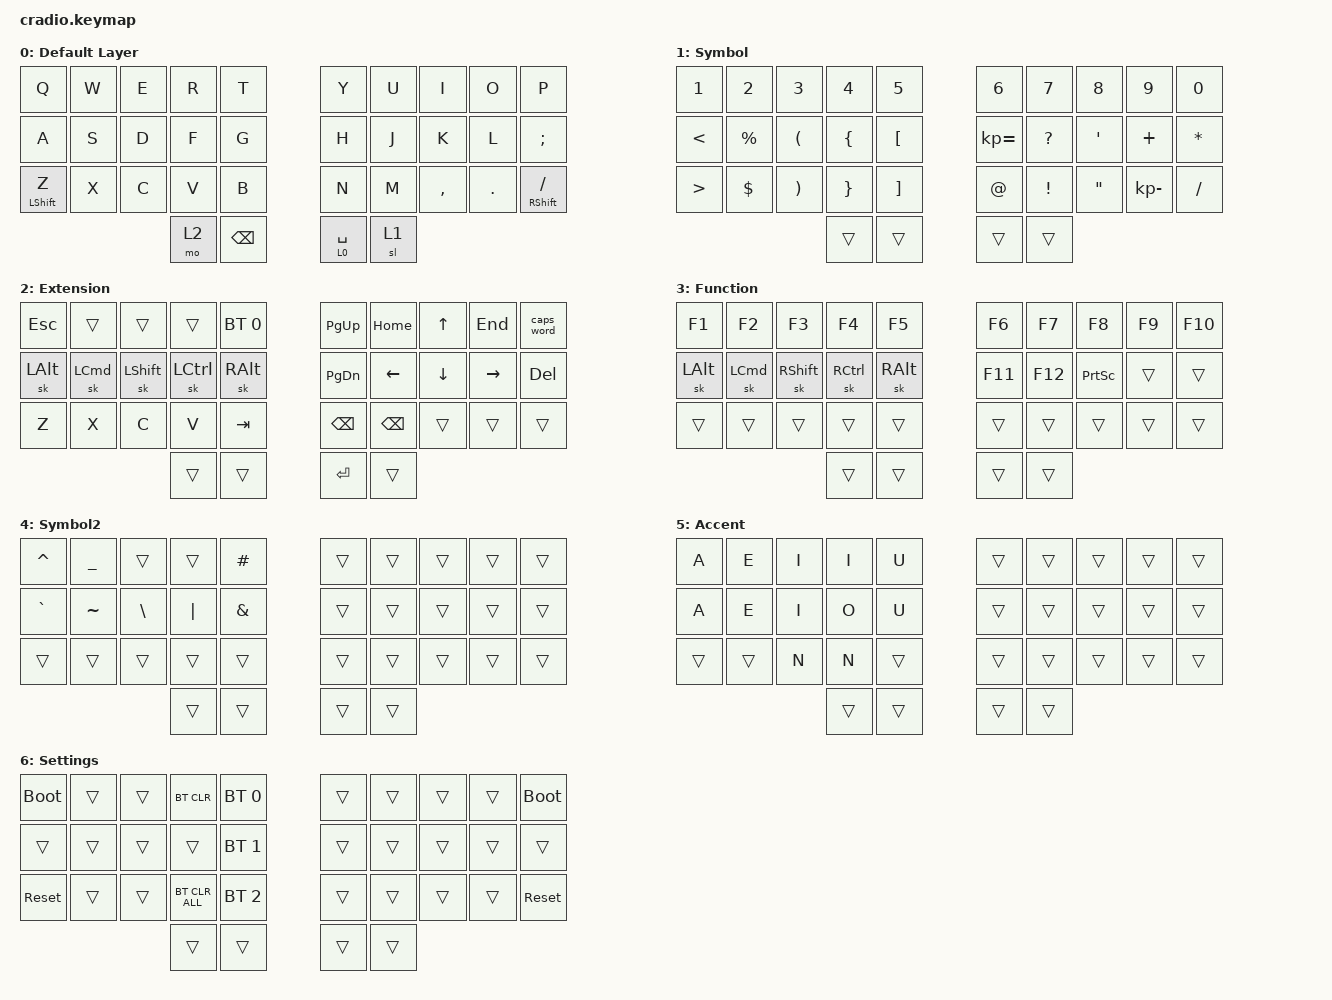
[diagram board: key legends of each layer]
// Copyright (c) 2022 The ZMK Contributors
// SPDX-License-Identifier: MIT

#define ZMK_POINTING_DEFAULT_MOVE_VAL 1200  // default: 600

#include "keys_es_latin_american.h"
#include <behaviors.dtsi>
#include <dt-bindings/zmk/bt.h>
#include <dt-bindings/zmk/keys.h>

&mt { quick-tap-ms = <150>; };

/ {
    behaviors {
        ht: hold_tap {
            compatible = "zmk,behavior-hold-tap";
            #binding-cells = <2>;
            flavor = "balanced";
            tapping-term-ms = <280>;
            quick-tap-ms = <175>;
            require-prior-idle-ms = <150>;
            bindings = <&kp>, <&kp>;

            hold-trigger-on-release;
        };
    };

    conditional_layers { compatible = "zmk,conditional-layers"; };

    combos {
        compatible = "zmk,combos";

        combo_lcmd {
            bindings = <&kp LGUI>;
            key-positions = <13 12>;
        };

        combo_lctrl {
            bindings = <&kp LCTRL>;
            key-positions = <13 11>;
        };

        combo_lalt {
            bindings = <&kp LEFT_ALT>;
            key-positions = <13 10>;
        };

        combo_rcmd {
            bindings = <&kp RCMD>;
            key-positions = <16 17>;
        };

        combo_rctrl {
            bindings = <&kp RCTRL>;
            key-positions = <16 18>;
        };

        combo_ralt {
            bindings = <&kp RIGHT_ALT>;
            key-positions = <16 19>;
        };

        combo_rthumb {
            bindings = <&mo 5>;
            key-positions = <33 32>;
        };

        combo_intlextr {
            bindings = <&mo 4>;
            key-positions = <33 31>;
        };

        combo_lthumb {
            bindings = <&mo 6>;
            key-positions = <30 31>;
        };

        combo_extthumb {
            bindings = <&mo 3>;
            key-positions = <33 30>;
        };
    };

    keymap {
        compatible = "zmk,keymap";

        Base_Layer {
            display-name = "Default Layer";
            bindings = <
&kp Q         &kp W  &kp E  &kp R  &kp T            &kp Y        &kp U  &kp I      &kp O    &kp P
&kp A         &kp S  &kp D  &kp F  &kp G            &kp H        &kp J  &kp K      &kp L    &kp SEMICOLON
&mt LSHIFT Z  &kp X  &kp C  &kp V  &kp B            &kp N        &kp M  &kp COMMA  &kp DOT  &mt RSHIFT FSLH
                            &mo 2  &kp BACKSPACE    &lt 0 SPACE  &sl 1
            >;
        };

        Sym {
            display-name = "Symbol";
            bindings = <
&kp NUMBER_1      &kp NUMBER_2  &kp NUMBER_3           &kp NUMBER_4     &kp N5               &kp NUMBER_6  &kp N7           &kp N8             &kp N9        &kp N0
&kp LESS_THAN     &kp PERCENT   &kp LEFT_PARENTHESIS   &kp LEFT_BRACE   &kp LEFT_BRACKET     &kp KP_EQUAL  &kp QUESTION     &kp APOS           &kp PLUS      &kp ASTRK
&kp GREATER_THAN  &kp DOLLAR    &kp RIGHT_PARENTHESIS  &kp RIGHT_BRACE  &kp RIGHT_BRACKET    &kp AT        &kp EXCLAMATION  &kp DOUBLE_QUOTES  &kp KP_MINUS  &kp SLASH
                                                       &trans           &trans               &trans        &trans
            >;
        };

        Ext {
            display-name = "Extension";
            bindings = <
&kp ESCAPE    &trans            &trans          &trans     &bt BT_SEL 0    &kp PAGE_UP    &kp HOME       &kp UP_ARROW  &kp END    &caps_word
&sk LEFT_ALT  &sk LEFT_COMMAND  &sk LEFT_SHIFT  &sk LCTRL  &sk RALT        &kp PAGE_DOWN  &kp LEFT       &kp DOWN      &kp RIGHT  &kp DELETE
&kp Z         &kp X             &kp C           &kp V      &kp TAB         &kp BACKSPACE  &kp BACKSPACE  &trans        &trans     &trans
                                                &trans     &trans          &kp RET        &trans
            >;
        };

        Fnc {
            display-name = "Function";
            bindings = <
&kp F1    &kp F2            &kp F3     &kp F4     &kp F5      &kp F6   &kp F7   &kp F8           &kp F9  &kp F10
&sk LALT  &sk LEFT_COMMAND  &sk RSHFT  &sk RCTRL  &sk RALT    &kp F11  &kp F12  &kp PRINTSCREEN  &trans  &trans
&trans    &trans            &trans     &trans     &trans      &trans   &trans   &trans           &trans  &trans
                                       &trans     &trans      &trans   &trans
            >;
        };

        Sym2 {
            display-name = "Symbol2";
            bindings = <
&kp CARET  &kp UNDER  &trans         &trans    &kp POUND        &trans  &trans  &trans  &trans  &trans
&kp GRAVE  &kp TILDE  &kp BACKSLASH  &kp PIPE  &kp AMPERSAND    &trans  &trans  &trans  &trans  &trans
&trans     &trans     &trans         &trans    &trans           &trans  &trans  &trans  &trans  &trans
                                     &trans    &trans           &trans  &trans
            >;
        };

        Accent {
            display-name = "Accent";
            bindings = <
&kp A   &kp E   &kp I  &kp I   &kp U     &trans  &trans  &trans  &trans  &trans
&kp A   &kp E   &kp I  &kp O   &kp U     &trans  &trans  &trans  &trans  &trans
&trans  &trans  &kp N  &kp N   &trans    &trans  &trans  &trans  &trans  &trans
                       &trans  &trans    &trans  &trans
            >;
        };

        Settings {
            display-name = "Settings";
            bindings = <
&bootloader  &trans  &trans  &bt BT_CLR      &bt BT_SEL 0    &trans  &trans  &trans  &trans  &bootloader
&trans       &trans  &trans  &trans          &bt BT_SEL 1    &trans  &trans  &trans  &trans  &trans
&sys_reset   &trans  &trans  &bt BT_CLR_ALL  &bt BT_SEL 2    &trans  &trans  &trans  &trans  &sys_reset
                             &trans          &trans          &trans  &trans
            >;
        };
    };
};
